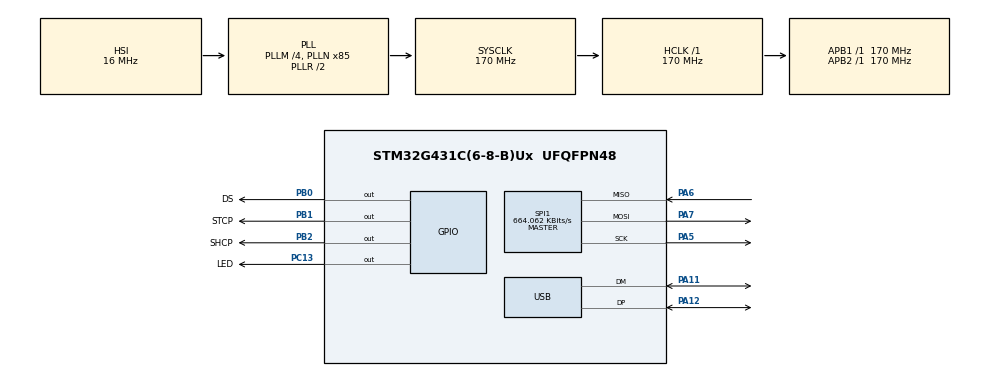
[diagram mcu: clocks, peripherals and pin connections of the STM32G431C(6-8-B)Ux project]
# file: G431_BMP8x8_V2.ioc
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FREERTOS.Events01=bmpEvent,Dynamic,NULL
FREERTOS.INCLUDE_vTaskDelayUntil=1
FREERTOS.Tasks01=defaultTask,24,2048,StartDefaultTask,Default,NULL,Dynamic,NULL,NULL;bmpTask,16,128,BMPTask,Default,NULL,Dynamic,NULL,NULL;ledTask,8,64,LEDTask,Default,NULL,Dynamic,NULL,NULL
FREERTOS.configENABLE_FPU=1
FREERTOS.configMINIMAL_STACK_SIZE=64
FREERTOS.configTOTAL_HEAP_SIZE=10240
Mcu.Family=STM32G4
Mcu.Name=STM32G431C(6-8-B)Ux
Mcu.Package=UFQFPN48
NVIC.PriorityGroup=NVIC_PRIORITYGROUP_4
NVIC.TIM1_TRG_COM_TIM17_IRQn=true\:15\:0\:false\:false\:true\:false\:false\:true\:true
NVIC.TimeBase=TIM1_TRG_COM_TIM17_IRQn
NVIC.TimeBaseIP=TIM17
NVIC.USB_LP_IRQn=true\:5\:0\:false\:false\:true\:true\:false\:true\:true
PA11.Mode=Device
PA11.Signal=USB_DM
PA12.Mode=Device
PA12.Signal=USB_DP
PA13.Mode=Serial_Wire
PA13.Signal=SYS_JTMS-SWDIO
PA14.Mode=Serial_Wire
PA14.Signal=SYS_JTCK-SWCLK
PA5.Mode=Full_Duplex_Master
PA5.Signal=SPI1_SCK
PA6.Mode=Full_Duplex_Master
PA6.Signal=SPI1_MISO
PA7.Mode=Full_Duplex_Master
PA7.Signal=SPI1_MOSI
PB0.GPIO_Label=DS
PB0.GPIO_PuPd=GPIO_PULLUP
PB0.GPIO_Speed=GPIO_SPEED_FREQ_VERY_HIGH
PB0.PinState=GPIO_PIN_SET
PB0.Signal=GPIO_Output
PB1.GPIO_Label=STCP
PB1.GPIO_PuPd=GPIO_PULLDOWN
PB1.GPIO_Speed=GPIO_SPEED_FREQ_VERY_HIGH
PB1.PinState=GPIO_PIN_RESET
PB1.Signal=GPIO_Output
PB2.GPIO_Label=SHCP
PB2.GPIO_PuPd=GPIO_PULLDOWN
PB2.GPIO_Speed=GPIO_SPEED_FREQ_VERY_HIGH
PB2.Signal=GPIO_Output
PC13.GPIO_Label=LED
PC13.GPIO_PuPd=GPIO_PULLUP
PC13.PinState=GPIO_PIN_SET
PC13.Signal=GPIO_Output
PF0-OSC_IN.Mode=HSE-External-Oscillator
PF0-OSC_IN.Signal=RCC_OSC_IN
PF1-OSC_OUT.Mode=HSE-External-Oscillator
PF1-OSC_OUT.Signal=RCC_OSC_OUT
ProjectManager.HeapSize=0x100
ProjectManager.StackSize=0xA00
ProjectManager.TargetToolchain=MDK-ARM V5.32
RCC.ADC12Freq_Value=170000000
RCC.AHBFreq_Value=170000000
RCC.APB1Freq_Value=170000000
RCC.APB1TimFreq_Value=170000000
RCC.APB2Freq_Value=170000000
RCC.APB2TimFreq_Value=170000000
RCC.CK48CLockSelection=RCC_USBCLKSOURCE_HSI48
RCC.CortexFreq_Value=170000000
RCC.EXTERNAL_CLOCK_VALUE=12288000
RCC.HCLKFreq_Value=170000000
RCC.HSE_VALUE=8000000
RCC.HSI48_VALUE=48000000
RCC.HSI_VALUE=16000000
RCC.LSE_VALUE=32768
RCC.PLLM=RCC_PLLM_DIV4
RCC.PLLN=85
RCC.SYSCLKFreq_VALUE=170000000
RCC.SYSCLKSource=RCC_SYSCLKSOURCE_PLLCLK
RCC.USBFreq_Value=48000000
RCC.VCOOutputFreq_Value=340000000
SPI1.BaudRatePrescaler=SPI_BAUDRATEPRESCALER_256
SPI1.CalculateBaudRate=664.062 KBits/s
SPI1.DataSize=SPI_DATASIZE_8BIT
SPI1.Direction=SPI_DIRECTION_2LINES
SPI1.Mode=SPI_MODE_MASTER
SPI1.NSSPMode=SPI_NSS_PULSE_DISABLE
SPI1.VirtualType=VM_MASTER
TIM2.Prescaler=169
TIM7.Prescaler=169
USB_DEVICE.CLASS_NAME_FS=CDC
USB_DEVICE.VirtualMode=Cdc
USB_DEVICE.VirtualModeFS=Cdc_FS
VP_FREERTOS_VS_CMSIS_V2.Mode=CMSIS_V2
VP_SYS_VS_DBSignals.Mode=DisableDeadBatterySignals
VP_SYS_VS_tim17.Mode=TIM17
VP_TIM2_VS_ClockSourceINT.Mode=Internal
VP_TIM7_VS_ClockSourceINT.Mode=Enable_Timer
VP_USB_DEVICE_VS_USB_DEVICE_CDC_FS.Mode=CDC_FS
board=custom

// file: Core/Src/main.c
/* USER CODE BEGIN Header */
/**
  ******************************************************************************
  * @file           : main.c
  * @brief          : Main program body
  ******************************************************************************
  * @attention
  *
  * Copyright (c) 2025 STMicroelectronics.
  * All rights reserved.
  *
  * This software is licensed under terms that can be found in the LICENSE file
  * in the root directory of this software component.
  * If no LICENSE file comes with this software, it is provided AS-IS.
  *
  ******************************************************************************
  */
/* USER CODE END Header */
#include "main.h"
#include "cmsis_os.h"
#include "spi.h"
#include "tim.h"
#include "usb_device.h"
#include "gpio.h"

void SystemClock_Config(void);
void MX_FREERTOS_Init(void);

int main(void)
{

  /* MCU Configuration--------------------------------------------------------*/

  /* Reset of all peripherals, Initializes the Flash interface and the Systick. */
  HAL_Init();

  /* Configure the system clock */
  SystemClock_Config();

  /* Initialize all configured peripherals */
  MX_GPIO_Init();
  MX_USB_Device_Init();
  MX_TIM7_Init();
  MX_SPI1_Init();
  MX_TIM2_Init();
  /* USER CODE BEGIN 2 */
  LL_TIM_SetCounter(TIM7, 0);
//	LL_TIM_EnableIT_UPDATE(TIM7);//start TIM7 IRQ
	LL_TIM_EnableCounter(TIM7);//Enable TIM7

	LL_TIM_SetCounter(TIM2, 0);
	LL_TIM_EnableCounter(TIM2);//Enable TIM2
  /* USER CODE END 2 */

  /* Init scheduler */
  osKernelInitialize();  /* Call init function for freertos objects (in freertos.c) */
  MX_FREERTOS_Init();

  /* Start scheduler */
  osKernelStart();

  /* We should never get here as control is now taken by the scheduler */
  /* Infinite loop */
  while (1)
  {

  }
}

void SystemClock_Config(void)
{
  RCC_OscInitTypeDef RCC_OscInitStruct = {0};
  RCC_ClkInitTypeDef RCC_ClkInitStruct = {0};

  /** Configure the main internal regulator output voltage
  */
  HAL_PWREx_ControlVoltageScaling(PWR_REGULATOR_VOLTAGE_SCALE1_BOOST);

  /** Initializes the RCC Oscillators according to the specified parameters
  * in the RCC_OscInitTypeDef structure.
  */
  RCC_OscInitStruct.OscillatorType = RCC_OSCILLATORTYPE_HSI|RCC_OSCILLATORTYPE_HSI48;
  RCC_OscInitStruct.HSIState = RCC_HSI_ON;
  RCC_OscInitStruct.HSICalibrationValue = RCC_HSICALIBRATION_DEFAULT;
  RCC_OscInitStruct.HSI48State = RCC_HSI48_ON;
  RCC_OscInitStruct.PLL.PLLState = RCC_PLL_ON;
  RCC_OscInitStruct.PLL.PLLSource = RCC_PLLSOURCE_HSI;
  RCC_OscInitStruct.PLL.PLLM = RCC_PLLM_DIV4;
  RCC_OscInitStruct.PLL.PLLN = 85;
  RCC_OscInitStruct.PLL.PLLP = RCC_PLLP_DIV2;
  RCC_OscInitStruct.PLL.PLLQ = RCC_PLLQ_DIV2;
  RCC_OscInitStruct.PLL.PLLR = RCC_PLLR_DIV2;
  if (HAL_RCC_OscConfig(&RCC_OscInitStruct) != HAL_OK)
  {
    Error_Handler();
  }

  /** Initializes the CPU, AHB and APB buses clocks
  */
  RCC_ClkInitStruct.ClockType = RCC_CLOCKTYPE_HCLK|RCC_CLOCKTYPE_SYSCLK
                              |RCC_CLOCKTYPE_PCLK1|RCC_CLOCKTYPE_PCLK2;
  RCC_ClkInitStruct.SYSCLKSource = RCC_SYSCLKSOURCE_PLLCLK;
  RCC_ClkInitStruct.AHBCLKDivider = RCC_SYSCLK_DIV1;
  RCC_ClkInitStruct.APB1CLKDivider = RCC_HCLK_DIV1;
  RCC_ClkInitStruct.APB2CLKDivider = RCC_HCLK_DIV1;

  if (HAL_RCC_ClockConfig(&RCC_ClkInitStruct, FLASH_LATENCY_4) != HAL_OK)
  {
    Error_Handler();
  }
}

void HAL_TIM_PeriodElapsedCallback(TIM_HandleTypeDef *htim)
{
  if (htim->Instance == TIM17) {
    HAL_IncTick();
  }
}

void Error_Handler(void)
{
  __disable_irq();
  while (1)
  {
  }
}

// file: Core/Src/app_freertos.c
/* USER CODE BEGIN Header */
/**
  ******************************************************************************
  * File Name          : app_freertos.c
  * Description        : Code for freertos applications
  ******************************************************************************
  * @attention
  *
  * Copyright (c) 2025 STMicroelectronics.
  * All rights reserved.
  *
  * This software is licensed under terms that can be found in the LICENSE file
  * in the root directory of this software component.
  * If no LICENSE file comes with this software, it is provided AS-IS.
  *
  ******************************************************************************
  */
/* USER CODE END Header */

#include "FreeRTOS.h"
#include "task.h"
#include "main.h"
#include "cmsis_os.h"

/* USER CODE BEGIN Includes */
#include "BMP280.h"
/* USER CODE END Includes */

/* Definitions for defaultTask */
osThreadId_t defaultTaskHandle;
const osThreadAttr_t defaultTask_attributes = {
  .name = "defaultTask",
  .priority = (osPriority_t) osPriorityNormal,
  .stack_size = 2048 * 4
};
/* Definitions for bmpTask */
osThreadId_t bmpTaskHandle;
const osThreadAttr_t bmpTask_attributes = {
  .name = "bmpTask",
  .priority = (osPriority_t) osPriorityBelowNormal,
  .stack_size = 128 * 4
};
/* Definitions for ledTask */
osThreadId_t ledTaskHandle;
const osThreadAttr_t ledTask_attributes = {
  .name = "ledTask",
  .priority = (osPriority_t) osPriorityLow,
  .stack_size = 64 * 4
};
/* Definitions for bmpEvent */
osEventFlagsId_t bmpEventHandle;
const osEventFlagsAttr_t bmpEvent_attributes = {
  .name = "bmpEvent"
};

void StartDefaultTask(void *argument);
void BMPTask(void *argument);
void LEDTask(void *argument);

void MX_FREERTOS_Init(void); /* (MISRA C 2004 rule 8.1) */

void MX_FREERTOS_Init(void) {

  /* Create the thread(s) */
  /* creation of defaultTask */
  defaultTaskHandle = osThreadNew(StartDefaultTask, NULL, &defaultTask_attributes);

  /* creation of bmpTask */
  bmpTaskHandle = osThreadNew(BMPTask, NULL, &bmpTask_attributes);

  /* creation of ledTask */
  ledTaskHandle = osThreadNew(LEDTask, NULL, &ledTask_attributes);

  /* Create the event(s) */
  /* creation of bmpEvent */
  bmpEventHandle = osEventFlagsNew(&bmpEvent_attributes);

}

/* USER CODE BEGIN Header_StartDefaultTask */
/**
  * @brief  Function implementing the defaultTask thread.
  * @param  argument: Not used
  * @retval None
  */
BMP280_Device bmp_dev[64];
Float32_union bmp_press_f_1[66];//64+2 帧头4字节 帧尾4字节
Float32_union bmp_press_f_2[66];//64+2 帧头4字节 帧尾4字节
volatile Float32_union* bmp_press_send_p=bmp_press_f_1;
volatile Float32_union* bmp_press_store_p=bmp_press_f_2;

//采集完成之后需要进行缓存切换
void exchange_res_p(void)
{
	static uint8_t state=1;//第一次运行该函数前 采集的数据存到bmp_press_f_2   第一次运行该函数后状态变为0，发送的指针指向bmp_press_f_1  之后循环往复
	state=!state;//状态翻转

	if(state)
	{
		bmp_press_send_p=bmp_press_f_1;
		bmp_press_store_p=bmp_press_f_2;
	}
	else
	{
		bmp_press_send_p=bmp_press_f_2;
		bmp_press_store_p=bmp_press_f_1;
	}
}

uint16_t adc_value[10];
/* USER CODE END Header_StartDefaultTask */
void StartDefaultTask(void *argument)
{
  /* USER CODE BEGIN StartDefaultTask */
	char usb_buff[4096]={0};
	uint8_t dev_index=0;
	uint8_t init_state=0;
	uint8_t error_flag = 0;

	TickType_t xLastWakeTime;
	xLastWakeTime = xTaskGetTickCount();

	bmp_press_f_1[0].byte[0]=0x55;//帧头
	bmp_press_f_1[0].byte[1]=0xAA;
	bmp_press_f_1[0].byte[2]=0xBB;
	bmp_press_f_1[0].byte[3]=0xCC;
	for(uint16_t i=0;i<64;i++)
	{
		bmp_press_f_1[1+i].f32=i*1.5f;
	}
	bmp_press_f_1[65].byte[0]=0xAA;//帧尾
	bmp_press_f_1[65].byte[1]=0x55;
	bmp_press_f_1[65].byte[2]=0x66;
	bmp_press_f_1[65].byte[3]=0x77;

	bmp_press_f_2[0].byte[0]=0x55;//帧头
	bmp_press_f_2[0].byte[1]=0xAA;
	bmp_press_f_2[0].byte[2]=0xBB;
	bmp_press_f_2[0].byte[3]=0xCC;
	for(uint16_t i=0;i<64;i++)
	{
		bmp_press_f_2[1+i].f32=i*1.5f+1.0f;
	}
	bmp_press_f_2[65].byte[0]=0xAA;//帧尾
	bmp_press_f_2[65].byte[1]=0x55;
	bmp_press_f_2[65].byte[2]=0x66;
	bmp_press_f_2[65].byte[3]=0x77;

	do
	{
		error_flag = 0;
		for(dev_index=0;dev_index<64;dev_index++)
		{
			bmp_dev[dev_index].hspi = &hspi1;
			bmp_dev[dev_index].cs_index = dev_index;

			init_state = BMP280_Init(&(bmp_dev[dev_index]));
			if(init_state != HAL_OK)
			{
				sprintf(usb_buff,"dev[%d]初始化失败,第%d个气压计,init_state:%d\r\n",dev_index,dev_index+1,init_state);
				CDC_Transmit_FS((uint8_t *)usb_buff,strlen(usb_buff));
				vTaskDelayUntil(&xLastWakeTime, pdMS_TO_TICKS(500));
				error_flag = 1;
			}
		}

		if(error_flag)
		{
			sprintf(usb_buff,"\r\n\r\n\r\n");
			CDC_Transmit_FS((uint8_t *)usb_buff,strlen(usb_buff));
			vTaskDelayUntil(&xLastWakeTime, pdMS_TO_TICKS(2000));
		}
	}while(error_flag == 1);

//	// 发送任务通知给BMPTask
//    xTaskNotifyGive(bmpTaskHandle);
	osEventFlagsSet(bmpEventHandle, 1<<0);

  /* Infinite loop */
	for(;;)
	{

//		sprintf(usb_buff,"PB2 adc_value:%d\r\n",adc_value[0]);
//		for(dev_index=0;dev_index<3;dev_index++)
//		{
//		/* 读取压力和温度 */
//			if (bmp_dev[dev_index].receive_error_flag == HAL_OK) {
//				sprintf(usb_buff+strlen(usb_buff),"dev[%2d],温度:%.2f °C,压力:%.5fkPa,海拔:%.2fm\r\n",
//				dev_index,
//				bmp_dev[dev_index].temperature,
////				bmp_press_store_p[1+dev_index].f32,
//				bmp_dev[dev_index].pressure,
//				bmp_dev[dev_index].altitude);
//			} else {
//				sprintf(usb_buff+strlen(usb_buff),"dev[%2d]读取数据失败,receive_error_flag:%d\r\n",dev_index,bmp_dev[dev_index].receive_error_flag);
//			}
//		}
//		sprintf(usb_buff+strlen(usb_buff),"------------------------\r\n");
//		sprintf(usb_buff+strlen(usb_buff), "SPI:%u us Temp:%u us Press:%u us\r\n",
//           t_spi, t_temp, t_press);
//		sprintf(usb_buff+strlen(usb_buff),"strlen(usb_buff):%d\r\n",strlen(usb_buff));
////		sprintf(usb_buff+strlen(usb_buff),"test:0x%llX\r\n",(0xFFFFFFFFFFFFFFFF & (~( (unsigned long long)(0x0000000000000001)<<(63-2) ))) );
//		CDC_Transmit_FS((uint8_t *)usb_buff,strlen(usb_buff));

		vTaskDelayUntil(&xLastWakeTime, pdMS_TO_TICKS(500));
//		osDelay(50);
	}
  /* USER CODE END StartDefaultTask */
}

void BMPTask(void *argument)
{
  /* USER CODE BEGIN BMPTask */
	uint8_t dev_index=0;
	HAL_StatusTypeDef error_flag=0;

	TickType_t xLastWakeTime;
	xLastWakeTime = xTaskGetTickCount();

	HAL_GPIO_WritePin(DS_GPIO_Port,DS_Pin,0);
	HAL_GPIO_WritePin(STCP_GPIO_Port,STCP_Pin,0);
	HAL_GPIO_WritePin(SHCP_GPIO_Port,SHCP_Pin,0);
	vTaskDelayUntil(&xLastWakeTime, pdMS_TO_TICKS(1));

//	// 等待StartDefaultTask的通知，永久阻塞直到收到通知
//    ulTaskNotifyTake(pdTRUE, portMAX_DELAY);
	osEventFlagsWait(bmpEventHandle, 1<<0, osFlagsWaitAll, portMAX_DELAY);

	xLastWakeTime = xTaskGetTickCount();
  /* Infinite loop */
	for(;;)
	{

		for(dev_index=0;dev_index<64;dev_index++)
		{

			/* 读取压力和温度 */
			bmp_dev[dev_index].receive_error_flag = BMP280_ReadPressureTemperature(&(bmp_dev[dev_index]),dev_index,bmp_press_store_p);

		}
		exchange_res_p();
		CDC_Transmit_FS((uint8_t *)bmp_press_send_p, 264);

		vTaskDelayUntil(&xLastWakeTime, pdMS_TO_TICKS(20));
//		vTaskDelayUntil(&xLastWakeTime, pdMS_TO_TICKS(15));//极限频率
	}
  /* USER CODE END BMPTask */
}

void LEDTask(void *argument)
{
  /* USER CODE BEGIN LEDTask */
	TickType_t xLastWakeTime;
	xLastWakeTime = xTaskGetTickCount();
  /* Infinite loop */
	for(;;)
	{
		HAL_GPIO_TogglePin(LED_GPIO_Port,LED_Pin);
		vTaskDelayUntil(&xLastWakeTime, pdMS_TO_TICKS(200));
	}
  /* USER CODE END LEDTask */
}

/* USER CODE BEGIN Application */
void Input_74HC595(uint8_t DS)
{
	HAL_GPIO_WritePin(DS_GPIO_Port,DS_Pin,DS);//输入 DS
	user_delaynus_tim(1);
	HAL_GPIO_WritePin(SHCP_GPIO_Port,SHCP_Pin,1);//数据载入
	user_delaynus_tim(1);
	HAL_GPIO_WritePin(SHCP_GPIO_Port,SHCP_Pin,0);
	HAL_GPIO_WritePin(STCP_GPIO_Port,STCP_Pin,1);//数据输出 此时真实输出为DS指定的电平
	user_delaynus_tim(1);
	HAL_GPIO_WritePin(STCP_GPIO_Port,STCP_Pin,0);
}
void Input_74HC595_CH8(uint8_t DS_8)//DS_8从低位到高位为bit7~bit0
{
	for(uint8_t i=0;i<8;i++)
	{
		HAL_GPIO_WritePin(DS_GPIO_Port,DS_Pin, ((DS_8>>i) & 0x01) );//输入 DS
		user_delaynus_tim(1);
		HAL_GPIO_WritePin(SHCP_GPIO_Port,SHCP_Pin,1);//数据载入
		user_delaynus_tim(1);
		HAL_GPIO_WritePin(SHCP_GPIO_Port,SHCP_Pin,0);
	}
	HAL_GPIO_WritePin(STCP_GPIO_Port,STCP_Pin,1);//数据输出 此时真实输出为DS_8指定的8通道电平
	user_delaynus_tim(1);
	HAL_GPIO_WritePin(STCP_GPIO_Port,STCP_Pin,0);
}
void Input_74HC595_CH64(uint64_t DS_64)//DS_64从低位到高位为bit63~bit0
{
	for(uint8_t i=0;i<64;i++)
	{
		HAL_GPIO_WritePin(DS_GPIO_Port,DS_Pin, ((DS_64>>i) & 0x0000000000000001) );//输入 DS
		user_delaynus_tim(1);
		HAL_GPIO_WritePin(SHCP_GPIO_Port,SHCP_Pin,1);//数据载入
		user_delaynus_tim(1);
		HAL_GPIO_WritePin(SHCP_GPIO_Port,SHCP_Pin,0);
	}
	HAL_GPIO_WritePin(STCP_GPIO_Port,STCP_Pin,1);//数据输出 此时真实输出为DS_8指定的8通道电平
	user_delaynus_tim(1);
	HAL_GPIO_WritePin(STCP_GPIO_Port,STCP_Pin,0);
}
void user_delaynus_tim(uint16_t nus)
{

	LL_TIM_SetCounter(TIM7, 0);
	while (LL_TIM_GetCounter(TIM7) < nus)
	{
		;// Optionally, add a timeout condition here to avoid an infinite loop
	}
}

/* USER CODE END Application */
